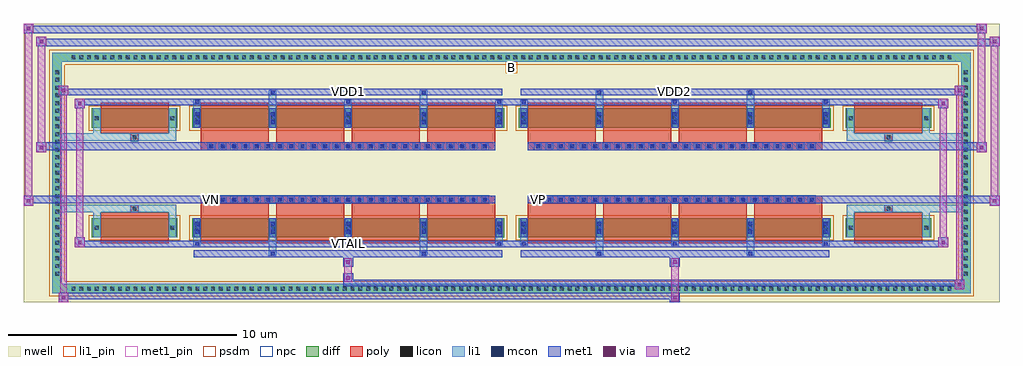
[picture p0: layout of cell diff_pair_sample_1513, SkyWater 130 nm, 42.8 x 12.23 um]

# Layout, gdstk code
import gdstk
lib = gdstk.Library(unit=1e-6, precision=5e-09)
def R(c, l, rs):  # rectangles x0, y0, x1, y1
    for r in rs: c.add(gdstk.rectangle(r[:2], r[2:], *l))
def A(c, l, x, y, w, h, nx, ny, dx, dy):  # array of equal rectangles
    R(c, l, [(x+i*dx, y+j*dy, x+i*dx+w, y+j*dy+h) for i in range(nx) for j in range(ny)])
def P(c, l, *ps):  # polygons
    for p in ps: c.add(gdstk.Polygon(p, *l))
nwell = (64, 20)
diff = (65, 20)
poly = (66, 20)
licon = (66, 44)
li1_pin = (67, 16)
li1 = (67, 20)
mcon = (67, 44)
met1_pin = (68, 16)
met1 = (68, 20)
via = (68, 44)
met2 = (69, 20)
psdm = (94, 20)
npc = (95, 20)

diff_pair_sample_1513 = lib.new_cell('diff_pair_sample_1513')
R(diff_pair_sample_1513, nwell, [(-21.4,-5.68,21.4,6.55), (-18.72,-3.87,-0.01,-0.805), (0.01,-3.87,18.72,-0.805), (-18.72,0.805,-0.01,3.87), (0.01,0.805,18.72,3.87)])
A(diff_pair_sample_1513, diff, -19.415, -5.28, 0.41, 0.41, 114, 2, 0.34, 10.15)
A(diff_pair_sample_1513, diff, -20.13, -4.625, 0.41, 0.41, 1, 27, 0, 0.34)
A(diff_pair_sample_1513, diff, 19.72, -4.625, 0.41, 0.41, 1, 27, 0, 0.34)
R(diff_pair_sample_1513, diff, [(-19.415,-5.28,19.415,-4.87), (-20.13,-4.625,-19.72,4.625), (19.72,-4.625,20.13,4.625), (-18.41,-2.825,-14.65,-1.985), (-14.01,-2.825,-0.32,-1.985), (0.32,-2.825,14.01,-1.985), (14.65,-2.825,18.41,-1.985), (-18.41,1.985,-14.65,2.825), (-14.01,1.985,-0.32,2.825), (0.32,1.985,14.01,2.825), (14.65,1.985,18.41,2.825), (-19.415,4.87,19.415,5.28)])
P(diff_pair_sample_1513, diff, [(20.13,5.28),(-20.13,5.28),(-20.13,-4.87),(-19.72,-4.87),(-19.72,4.87),(19.72,4.87),(19.72,-4.87),(-19.72,-4.87),(-20.13,-4.87),(-20.13,-5.28),(20.13,-5.28)])
A(diff_pair_sample_1513, poly, -13.62, -3.075, 2.98, 1.34, 4, 2, 3.31, 4.81)
A(diff_pair_sample_1513, poly, 0.71, -3.075, 2.98, 1.34, 4, 2, 3.31, 4.81)
A(diff_pair_sample_1513, poly, -13.62, -1.735, 2.98, 0.4, 4, 2, 3.31, 3.07)
A(diff_pair_sample_1513, poly, 0.71, -1.735, 2.98, 0.4, 4, 2, 3.31, 3.07)
A(diff_pair_sample_1513, poly, -13.33, -1.335, 0.33, 0.33, 25, 2, 0.5, 2.34)
A(diff_pair_sample_1513, poly, 1, -1.335, 0.33, 0.33, 25, 2, 0.5, 2.34)
R(diff_pair_sample_1513, poly, [(-18.02,-3.075,-15.04,-1.735), (15.04,-3.075,18.02,-1.735), (-16.695,-1.735,-16.365,-1.405), (-16.695,-1.735,-16.365,-1.405), (16.365,-1.735,16.695,-1.405), (16.365,-1.735,16.695,-1.405), (-13.62,-1.335,-0.71,-1.005), (0.71,-1.335,13.62,-1.005), (-13.62,1.005,-0.71,1.335), (0.71,1.005,13.62,1.335), (-16.695,1.405,-16.365,1.735), (-16.695,1.405,-16.365,1.735), (16.365,1.405,16.695,1.735), (16.365,1.405,16.695,1.735), (-18.02,1.735,-15.04,3.075), (15.04,1.735,18.02,3.075)])
A(diff_pair_sample_1513, licon, -19.295, -5.16, 0.17, 0.17, 114, 2, 0.34, 10.15)
A(diff_pair_sample_1513, licon, -20.01, -4.505, 0.17, 0.17, 1, 27, 0, 0.34)
A(diff_pair_sample_1513, licon, 19.84, -4.505, 0.17, 0.17, 1, 27, 0, 0.34)
A(diff_pair_sample_1513, licon, -13.87, -2.49, 0.17, 0.17, 5, 2, 3.31, 4.81)
A(diff_pair_sample_1513, licon, 0.46, -2.49, 0.17, 0.17, 5, 2, 3.31, 4.81)
A(diff_pair_sample_1513, licon, -13.25, -1.255, 0.17, 0.17, 25, 2, 0.5, 2.34)
A(diff_pair_sample_1513, licon, 1.08, -1.255, 0.17, 0.17, 25, 2, 0.5, 2.34)
R(diff_pair_sample_1513, licon, [(-18.27,-2.49,-18.1,-2.32), (-14.96,-2.49,-14.79,-2.32), (14.79,-2.49,14.96,-2.32), (18.1,-2.49,18.27,-2.32), (-16.615,-1.655,-16.445,-1.485), (16.445,-1.655,16.615,-1.485), (-16.615,1.485,-16.445,1.655), (16.445,1.485,16.615,1.655), (-18.27,2.32,-18.1,2.49), (-14.96,2.32,-14.79,2.49), (14.79,2.32,14.96,2.49), (18.1,2.32,18.27,2.49)])
R(diff_pair_sample_1513, li1_pin, [(-0.25,4.37,0.25,4.87)])
A(diff_pair_sample_1513, li1, -19.375, -5.24, 0.33, 0.33, 114, 2, 0.34, 10.15)
A(diff_pair_sample_1513, li1, -20.09, -4.585, 0.33, 0.33, 1, 27, 0, 0.34)
A(diff_pair_sample_1513, li1, 19.76, -4.585, 0.33, 0.33, 1, 27, 0, 0.34)
A(diff_pair_sample_1513, li1, -13.95, -3.2, 0.33, 0.375, 3, 2, 6.62, 6.025)
A(diff_pair_sample_1513, li1, -13.87, -3.2, 0.17, 0.17, 3, 2, 6.62, 6.23)
A(diff_pair_sample_1513, li1, 0.38, -3.2, 0.33, 0.375, 3, 2, 6.62, 6.025)
A(diff_pair_sample_1513, li1, 0.46, -3.2, 0.17, 0.17, 3, 2, 6.62, 6.23)
A(diff_pair_sample_1513, li1, -13.95, -2.825, 0.33, 0.84, 5, 2, 3.31, 4.81)
A(diff_pair_sample_1513, li1, 0.38, -2.825, 0.33, 0.84, 5, 2, 3.31, 4.81)
A(diff_pair_sample_1513, li1, -13.87, -2.67, 0.17, 0.17, 5, 2, 3.31, 0.36)
A(diff_pair_sample_1513, li1, -13.87, -2.67, 0.17, 0.53, 5, 2, 3.31, 4.81)
A(diff_pair_sample_1513, li1, 0.46, -2.67, 0.17, 0.17, 5, 2, 3.31, 0.36)
A(diff_pair_sample_1513, li1, 0.46, -2.67, 0.17, 0.53, 5, 2, 3.31, 4.81)
A(diff_pair_sample_1513, li1, -13.95, -2.57, 0.33, 0.33, 5, 2, 3.31, 4.81)
A(diff_pair_sample_1513, li1, 0.38, -2.57, 0.33, 0.33, 5, 2, 3.31, 4.81)
A(diff_pair_sample_1513, li1, -13.33, -1.335, 0.33, 0.33, 25, 2, 0.5, 2.34)
A(diff_pair_sample_1513, li1, 1, -1.335, 0.33, 0.33, 25, 2, 0.5, 2.34)
A(diff_pair_sample_1513, li1, -13.87, 2.14, 0.17, 0.17, 5, 2, 3.31, 0.36)
A(diff_pair_sample_1513, li1, 0.46, 2.14, 0.17, 0.17, 5, 2, 3.31, 0.36)
R(diff_pair_sample_1513, li1, [(-20.13,-5.28,-19.72,-4.87), (-20.13,-5.28,-19.72,-4.87), (-19.72,-5.28,19.72,-4.87), (19.72,-5.28,20.13,-4.87), (19.72,-5.28,20.13,-4.87), (-20.13,-4.87,-19.72,4.87), (19.72,-4.87,20.13,4.87), (-10.64,-3.63,-10.31,-2.825), (-10.56,-3.63,-10.39,-3.46), (-4.02,-3.63,-3.69,-2.825), (-3.94,-3.63,-3.77,-3.46), (3.69,-3.63,4.02,-2.825), (3.77,-3.63,3.94,-3.46), (10.31,-3.63,10.64,-2.825), (10.39,-3.63,10.56,-3.46), (-18.35,-2.825,-18.02,-1.985), (-15.04,-2.825,-14.71,-1.985), (14.71,-2.825,15.04,-1.985), (18.02,-2.825,18.35,-1.985), (-18.35,-2.57,-18.02,-2.24), (-15.04,-2.57,-14.71,-2.24), (14.71,-2.57,15.04,-2.24), (18.02,-2.57,18.35,-2.24), (-18.35,-1.985,-18.02,-1.405), (-15.04,-1.985,-14.71,-1.405), (14.71,-1.985,15.04,-1.405), (18.02,-1.985,18.35,-1.405), (-20.13,-1.735,-16.695,-1.405), (-18.35,-1.735,-16.695,-1.405), (-16.695,-1.735,-16.365,-1.405), (-16.365,-1.735,-14.71,-1.405), (14.71,-1.735,16.365,-1.405), (16.365,-1.735,16.695,-1.405), (16.365,-1.735,20.13,-1.405), (16.695,-1.735,18.35,-1.405), (-20.13,1.405,-16.695,1.735), (-18.35,1.405,-16.695,1.735), (-18.35,1.405,-18.02,1.985), (-16.695,1.405,-16.365,1.735), (-16.365,1.405,-14.71,1.735), (-15.04,1.405,-14.71,1.985), (14.71,1.405,16.365,1.735), (14.71,1.405,15.04,1.985), (16.365,1.405,16.695,1.735), (16.365,1.405,20.13,1.735), (16.695,1.405,18.35,1.735), (18.02,1.405,18.35,1.985), (-18.35,1.985,-18.02,2.825), (-15.04,1.985,-14.71,2.825), (14.71,1.985,15.04,2.825), (18.02,1.985,18.35,2.825), (-18.35,2.24,-18.02,2.57), (-15.04,2.24,-14.71,2.57), (14.71,2.24,15.04,2.57), (18.02,2.24,18.35,2.57), (-10.64,2.825,-10.31,3.63), (-4.02,2.825,-3.69,3.63), (3.69,2.825,4.02,3.63), (10.31,2.825,10.64,3.63), (-10.56,3.46,-10.39,3.63), (-3.94,3.46,-3.77,3.63), (3.77,3.46,3.94,3.63), (10.39,3.46,10.56,3.63), (-20.13,4.87,-19.72,5.28), (-20.13,4.87,-19.72,5.28), (-19.72,4.87,19.72,5.28), (19.72,4.87,20.13,5.28), (19.72,4.87,20.13,5.28)])
A(diff_pair_sample_1513, mcon, -13.87, -3.2, 0.17, 0.17, 3, 2, 6.62, 6.23)
A(diff_pair_sample_1513, mcon, 0.46, -3.2, 0.17, 0.17, 3, 2, 6.62, 6.23)
A(diff_pair_sample_1513, mcon, -13.87, -2.67, 0.17, 0.17, 5, 2, 3.31, 0.36)
A(diff_pair_sample_1513, mcon, 0.46, -2.67, 0.17, 0.17, 5, 2, 3.31, 0.36)
A(diff_pair_sample_1513, mcon, -13.25, -1.255, 0.17, 0.17, 25, 2, 0.5, 2.34)
A(diff_pair_sample_1513, mcon, 1.08, -1.255, 0.17, 0.17, 25, 2, 0.5, 2.34)
A(diff_pair_sample_1513, mcon, -13.87, 2.14, 0.17, 0.17, 5, 2, 3.31, 0.36)
A(diff_pair_sample_1513, mcon, 0.46, 2.14, 0.17, 0.17, 5, 2, 3.31, 0.36)
R(diff_pair_sample_1513, mcon, [(-10.56,-3.63,-10.39,-3.46), (-3.94,-3.63,-3.77,-3.46), (3.77,-3.63,3.94,-3.46), (10.39,-3.63,10.56,-3.46), (-10.56,3.46,-10.39,3.63), (-3.94,3.46,-3.77,3.63), (3.77,3.46,3.94,3.63), (10.39,3.46,10.56,3.63)])
R(diff_pair_sample_1513, met1_pin, [(-7.3,-3.24,-7.03,-2.97), (-13.3,-1.295,-13.03,-1.025), (1.03,-1.295,1.3,-1.025), (-7.3,3.42,-7.03,3.69), (7.03,3.42,7.3,3.69)])
A(diff_pair_sample_1513, met1, -13.93, -3.26, 0.29, 0.29, 3, 2, 6.62, 6.23)
A(diff_pair_sample_1513, met1, 0.4, -3.26, 0.29, 0.29, 3, 2, 6.62, 6.23)
A(diff_pair_sample_1513, met1, -13.93, -2.825, 0.29, 0.84, 5, 2, 3.31, 4.81)
A(diff_pair_sample_1513, met1, 0.4, -2.825, 0.29, 0.84, 5, 2, 3.31, 4.81)
A(diff_pair_sample_1513, met1, -13.93, -2.73, 0.29, 0.29, 5, 2, 3.31, 0.36)
A(diff_pair_sample_1513, met1, 0.4, -2.73, 0.29, 0.29, 5, 2, 3.31, 0.36)
A(diff_pair_sample_1513, met1, -13.31, -1.315, 0.29, 0.29, 25, 2, 0.5, 2.34)
A(diff_pair_sample_1513, met1, 1.02, -1.315, 0.29, 0.29, 25, 2, 0.5, 2.34)
A(diff_pair_sample_1513, met1, -13.93, 2.08, 0.29, 0.29, 5, 2, 3.31, 0.36)
A(diff_pair_sample_1513, met1, 0.4, 2.08, 0.29, 0.29, 5, 2, 3.31, 0.36)
R(diff_pair_sample_1513, met1, [(-19.86,-5.68,-19.43,-5.25), (6.95,-5.68,7.38,-5.25), (-19.86,-5.54,7.38,-5.25), (19.43,-5.11,19.86,-4.68), (-7.38,-4.97,19.86,-4.68), (-7.38,-4.83,-6.95,-4.4), (-7.38,-4.12,-6.95,-3.69), (6.95,-4.12,7.38,-3.69), (-13.93,-3.69,-0.4,-3.4), (-10.62,-3.69,-10.33,-3.4), (-4,-3.69,-3.71,-3.4), (0.4,-3.69,13.93,-3.4), (3.71,-3.69,4,-3.4), (10.33,-3.69,10.62,-3.4), (-19.15,-3.26,-18.72,-2.83), (-19.15,-3.26,-13.93,-2.97), (-13.93,-3.26,-0.4,-2.97), (-0.4,-3.26,0.4,-2.97), (0.4,-3.26,13.93,-2.97), (13.93,-3.26,19.15,-2.97), (18.72,-3.26,19.15,-2.83), (-21.4,-1.435,-20.97,-1.005), (20.97,-1.435,21.4,-1.005), (-21.4,-1.335,-0.71,-1.005), (-13.62,-1.335,-0.71,-1.005), (0.71,-1.335,13.62,-1.005), (0.71,-1.335,21.4,-1.005), (-20.83,0.905,-20.4,1.335), (20.4,0.905,20.83,1.335), (-20.83,1.005,-13.62,1.335), (-13.62,1.005,-0.71,1.335), (0.71,1.005,13.62,1.335), (13.62,1.005,20.83,1.335), (-19.15,2.83,-18.72,3.26), (18.72,2.83,19.15,3.26), (-19.15,2.97,-13.93,3.26), (-13.93,2.97,-0.4,3.26), (-0.4,2.97,0.4,3.26), (0.4,2.97,13.93,3.26), (13.93,2.97,19.15,3.26), (-19.86,3.4,-19.43,3.83), (-19.86,3.4,-13.93,3.69), (-13.93,3.4,-0.4,3.69), (-10.62,3.4,-10.33,3.69), (-4,3.4,-3.71,3.69), (0.4,3.4,13.93,3.69), (3.71,3.4,4,3.69), (10.33,3.4,10.62,3.69), (13.93,3.4,19.86,3.69), (19.43,3.4,19.86,3.83), (-20.83,5.55,-20.4,5.98), (-20.83,5.55,-18.72,5.88), (-18.72,5.55,18.72,5.88), (18.72,5.55,21.4,5.88), (20.97,5.55,21.4,5.98), (-21.4,6.12,-20.97,6.55), (-21.4,6.12,-18.72,6.45), (-18.72,6.12,18.72,6.45), (18.72,6.12,20.83,6.45), (20.4,6.12,20.83,6.55)])
R(diff_pair_sample_1513, via, [(-19.72,-5.54,-19.57,-5.39), (7.09,-5.54,7.24,-5.39), (19.57,-4.97,19.72,-4.82), (-7.24,-4.69,-7.09,-4.54), (-7.24,-3.98,-7.09,-3.83), (7.09,-3.98,7.24,-3.83), (-19.01,-3.12,-18.86,-2.97), (18.86,-3.12,19.01,-2.97), (-21.26,-1.295,-21.11,-1.145), (21.11,-1.295,21.26,-1.145), (-20.69,1.045,-20.54,1.195), (20.54,1.045,20.69,1.195), (-19.01,2.97,-18.86,3.12), (18.86,2.97,19.01,3.12), (-19.72,3.54,-19.57,3.69), (19.57,3.54,19.72,3.69), (-20.69,5.69,-20.54,5.84), (21.11,5.69,21.26,5.84), (-21.26,6.26,-21.11,6.41), (20.54,6.26,20.69,6.41)])
R(diff_pair_sample_1513, met2, [(-19.86,-5.68,-19.43,-5.25), (-19.79,-5.68,-19.5,3.83), (-19.5,-5.68,-19.43,-5.25), (-19.81,-5.63,-19.48,-5.3), (7,-5.63,7.33,-5.3), (7,-5.3,7.33,-4.07), (19.43,-5.11,19.86,-4.68), (19.5,-5.11,19.79,3.83), (19.79,-5.11,19.86,-4.68), (19.48,-5.06,19.81,-4.73), (-7.33,-4.78,-7,-4.45), (-7.33,-4.45,-7,-4.07), (-7.33,-4.07,-7,-3.74), (7,-4.07,7.33,-3.74), (-19.15,-3.26,-18.72,-2.83), (-19.08,-3.26,-18.79,3.26), (-18.79,-3.26,-18.72,-2.83), (18.72,-3.26,19.15,-2.83), (18.79,-3.26,19.08,3.26), (19.08,-3.26,19.15,-2.83), (-19.1,-3.21,-18.77,-2.88), (18.77,-3.21,19.1,-2.88), (-21.4,-1.435,-20.97,-1.005), (-21.35,-1.435,-21.02,6.55), (-21.02,-1.435,-20.97,-1.005), (20.97,-1.435,21.4,-1.005), (21.02,-1.435,21.35,5.98), (21.35,-1.435,21.4,-1.005), (-21.35,-1.385,-21.02,-1.055), (21.02,-1.385,21.35,-1.055), (-20.83,0.905,-20.4,1.335), (-20.78,0.905,-20.45,5.98), (-20.45,0.905,-20.4,1.335), (20.4,0.905,20.83,1.335), (20.45,0.905,20.78,6.55), (20.78,0.905,20.83,1.335), (-20.78,0.955,-20.45,1.285), (20.45,0.955,20.78,1.285), (-19.15,2.83,-18.72,3.26), (-18.79,2.83,-18.72,3.26), (18.72,2.83,19.15,3.26), (19.08,2.83,19.15,3.26), (-19.1,2.88,-18.77,3.21), (18.77,2.88,19.1,3.21), (-19.86,3.4,-19.43,3.83), (-19.5,3.4,-19.43,3.83), (19.43,3.4,19.86,3.83), (19.79,3.4,19.86,3.83), (-19.81,3.45,-19.48,3.78), (19.48,3.45,19.81,3.78), (-20.83,5.55,-20.4,5.98), (-20.45,5.55,-20.4,5.98), (20.97,5.55,21.4,5.98), (21.35,5.55,21.4,5.98), (-20.78,5.6,-20.45,5.93), (21.02,5.6,21.35,5.93), (-21.4,6.12,-20.97,6.55), (-21.02,6.12,-20.97,6.55), (20.4,6.12,20.83,6.55), (20.78,6.12,20.83,6.55), (-21.35,6.17,-21.02,6.5), (20.45,6.17,20.78,6.5)])
R(diff_pair_sample_1513, psdm, [(-18.54,-2.955,-14.52,-1.855), (-14.14,-2.955,-0.19,-1.855), (0.19,-2.955,14.14,-1.855), (14.52,-2.955,18.54,-1.855), (-18.54,1.855,-14.52,2.955), (-14.14,1.855,-0.19,2.955), (0.19,1.855,14.14,2.955), (14.52,1.855,18.54,2.955)])
P(diff_pair_sample_1513, psdm, [(20.26,5.41),(-20.26,5.41),(-20.26,-4.74),(-19.59,-4.74),(-19.59,4.74),(19.59,4.74),(19.59,-4.74),(-19.59,-4.74),(-20.26,-4.74),(-20.26,-5.41),(20.26,-5.41)])
A(diff_pair_sample_1513, npc, -13.35, -1.355, 0.37, 0.37, 25, 2, 0.5, 2.34)
A(diff_pair_sample_1513, npc, 0.98, -1.355, 0.37, 0.37, 25, 2, 0.5, 2.34)
R(diff_pair_sample_1513, npc, [(-16.715,-1.755,-16.345,-1.385), (16.345,-1.755,16.715,-1.385), (-13.35,-1.355,-12.48,-0.985), (-13.35,-1.355,-12.48,-0.985), (-12.85,-1.355,-11.98,-0.985), (-12.85,-1.355,-11.98,-0.985), (-12.35,-1.355,-11.48,-0.985), (-12.35,-1.355,-11.48,-0.985), (-11.85,-1.355,-10.98,-0.985), (-11.85,-1.355,-10.98,-0.985), (-11.35,-1.355,-10.48,-0.985), (-11.35,-1.355,-10.48,-0.985), (-10.85,-1.355,-9.98,-0.985), (-10.85,-1.355,-9.98,-0.985), (-10.35,-1.355,-9.48,-0.985), (-10.35,-1.355,-9.48,-0.985), (-9.85,-1.355,-8.98,-0.985), (-9.85,-1.355,-8.98,-0.985), (-9.35,-1.355,-8.48,-0.985), (-9.35,-1.355,-8.48,-0.985), (-8.85,-1.355,-7.98,-0.985), (-8.85,-1.355,-7.98,-0.985), (-8.35,-1.355,-7.48,-0.985), (-8.35,-1.355,-7.48,-0.985), (-7.85,-1.355,-6.98,-0.985), (-7.85,-1.355,-6.98,-0.985), (-7.35,-1.355,-6.48,-0.985), (-7.35,-1.355,-6.48,-0.985), (-6.85,-1.355,-5.98,-0.985), (-6.85,-1.355,-5.98,-0.985), (-6.35,-1.355,-5.48,-0.985), (-6.35,-1.355,-5.48,-0.985), (-5.85,-1.355,-4.98,-0.985), (-5.85,-1.355,-4.98,-0.985), (-5.35,-1.355,-4.48,-0.985), (-5.35,-1.355,-4.48,-0.985), (-4.85,-1.355,-3.98,-0.985), (-4.85,-1.355,-3.98,-0.985), (-4.35,-1.355,-3.48,-0.985), (-4.35,-1.355,-3.48,-0.985), (-3.85,-1.355,-2.98,-0.985), (-3.85,-1.355,-2.98,-0.985), (-3.35,-1.355,-2.48,-0.985), (-3.35,-1.355,-2.48,-0.985), (-2.85,-1.355,-1.98,-0.985), (-2.85,-1.355,-1.98,-0.985), (-2.35,-1.355,-1.48,-0.985), (-2.35,-1.355,-1.48,-0.985), (-1.85,-1.355,-0.98,-0.985), (-1.85,-1.355,-0.98,-0.985), (0.98,-1.355,1.85,-0.985), (0.98,-1.355,1.85,-0.985), (1.48,-1.355,2.35,-0.985), (1.48,-1.355,2.35,-0.985), (1.98,-1.355,2.85,-0.985), (1.98,-1.355,2.85,-0.985), (2.48,-1.355,3.35,-0.985), (2.48,-1.355,3.35,-0.985), (2.98,-1.355,3.85,-0.985), (2.98,-1.355,3.85,-0.985), (3.48,-1.355,4.35,-0.985), (3.48,-1.355,4.35,-0.985), (3.98,-1.355,4.85,-0.985), (3.98,-1.355,4.85,-0.985), (4.48,-1.355,5.35,-0.985), (4.48,-1.355,5.35,-0.985), (4.98,-1.355,5.85,-0.985), (4.98,-1.355,5.85,-0.985), (5.48,-1.355,6.35,-0.985), (5.48,-1.355,6.35,-0.985), (5.98,-1.355,6.85,-0.985), (5.98,-1.355,6.85,-0.985), (6.48,-1.355,7.35,-0.985), (6.48,-1.355,7.35,-0.985), (6.98,-1.355,7.85,-0.985), (6.98,-1.355,7.85,-0.985), (7.48,-1.355,8.35,-0.985), (7.48,-1.355,8.35,-0.985), (7.98,-1.355,8.85,-0.985), (7.98,-1.355,8.85,-0.985), (8.48,-1.355,9.35,-0.985), (8.48,-1.355,9.35,-0.985), (8.98,-1.355,9.85,-0.985), (8.98,-1.355,9.85,-0.985), (9.48,-1.355,10.35,-0.985), (9.48,-1.355,10.35,-0.985), (9.98,-1.355,10.85,-0.985), (9.98,-1.355,10.85,-0.985), (10.48,-1.355,11.35,-0.985), (10.48,-1.355,11.35,-0.985), (10.98,-1.355,11.85,-0.985), (10.98,-1.355,11.85,-0.985), (11.48,-1.355,12.35,-0.985), (11.48,-1.355,12.35,-0.985), (11.98,-1.355,12.85,-0.985), (11.98,-1.355,12.85,-0.985), (12.48,-1.355,13.35,-0.985), (12.48,-1.355,13.35,-0.985), (-13.35,0.985,-12.48,1.355), (-13.35,0.985,-12.48,1.355), (-12.85,0.985,-11.98,1.355), (-12.85,0.985,-11.98,1.355), (-12.35,0.985,-11.48,1.355), (-12.35,0.985,-11.48,1.355), (-11.85,0.985,-10.98,1.355), (-11.85,0.985,-10.98,1.355), (-11.35,0.985,-10.48,1.355), (-11.35,0.985,-10.48,1.355), (-10.85,0.985,-9.98,1.355), (-10.85,0.985,-9.98,1.355), (-10.35,0.985,-9.48,1.355), (-10.35,0.985,-9.48,1.355), (-9.85,0.985,-8.98,1.355), (-9.85,0.985,-8.98,1.355), (-9.35,0.985,-8.48,1.355), (-9.35,0.985,-8.48,1.355), (-8.85,0.985,-7.98,1.355), (-8.85,0.985,-7.98,1.355), (-8.35,0.985,-7.48,1.355), (-8.35,0.985,-7.48,1.355), (-7.85,0.985,-6.98,1.355), (-7.85,0.985,-6.98,1.355), (-7.35,0.985,-6.48,1.355), (-7.35,0.985,-6.48,1.355), (-6.85,0.985,-5.98,1.355), (-6.85,0.985,-5.98,1.355), (-6.35,0.985,-5.48,1.355), (-6.35,0.985,-5.48,1.355), (-5.85,0.985,-4.98,1.355), (-5.85,0.985,-4.98,1.355), (-5.35,0.985,-4.48,1.355), (-5.35,0.985,-4.48,1.355), (-4.85,0.985,-3.98,1.355), (-4.85,0.985,-3.98,1.355), (-4.35,0.985,-3.48,1.355), (-4.35,0.985,-3.48,1.355), (-3.85,0.985,-2.98,1.355), (-3.85,0.985,-2.98,1.355), (-3.35,0.985,-2.48,1.355), (-3.35,0.985,-2.48,1.355), (-2.85,0.985,-1.98,1.355), (-2.85,0.985,-1.98,1.355), (-2.35,0.985,-1.48,1.355), (-2.35,0.985,-1.48,1.355), (-1.85,0.985,-0.98,1.355), (-1.85,0.985,-0.98,1.355), (0.98,0.985,1.85,1.355), (0.98,0.985,1.85,1.355), (1.48,0.985,2.35,1.355), (1.48,0.985,2.35,1.355), (1.98,0.985,2.85,1.355), (1.98,0.985,2.85,1.355), (2.48,0.985,3.35,1.355), (2.48,0.985,3.35,1.355), (2.98,0.985,3.85,1.355), (2.98,0.985,3.85,1.355), (3.48,0.985,4.35,1.355), (3.48,0.985,4.35,1.355), (3.98,0.985,4.85,1.355), (3.98,0.985,4.85,1.355), (4.48,0.985,5.35,1.355), (4.48,0.985,5.35,1.355), (4.98,0.985,5.85,1.355), (4.98,0.985,5.85,1.355), (5.48,0.985,6.35,1.355), (5.48,0.985,6.35,1.355), (5.98,0.985,6.85,1.355), (5.98,0.985,6.85,1.355), (6.48,0.985,7.35,1.355), (6.48,0.985,7.35,1.355), (6.98,0.985,7.85,1.355), (6.98,0.985,7.85,1.355), (7.48,0.985,8.35,1.355), (7.48,0.985,8.35,1.355), (7.98,0.985,8.85,1.355), (7.98,0.985,8.85,1.355), (8.48,0.985,9.35,1.355), (8.48,0.985,9.35,1.355), (8.98,0.985,9.85,1.355), (8.98,0.985,9.85,1.355), (9.48,0.985,10.35,1.355), (9.48,0.985,10.35,1.355), (9.98,0.985,10.85,1.355), (9.98,0.985,10.85,1.355), (10.48,0.985,11.35,1.355), (10.48,0.985,11.35,1.355), (10.98,0.985,11.85,1.355), (10.98,0.985,11.85,1.355), (11.48,0.985,12.35,1.355), (11.48,0.985,12.35,1.355), (11.98,0.985,12.85,1.355), (11.98,0.985,12.85,1.355), (12.48,0.985,13.35,1.355), (12.48,0.985,13.35,1.355), (-16.715,1.385,-16.345,1.755), (16.345,1.385,16.715,1.755)])
diff_pair_sample_1513.add(gdstk.Label('VTAIL', (-7.165,-3.105), layer=68, texttype=5))
diff_pair_sample_1513.add(gdstk.Label('VN', (-13.165,-1.16), layer=68, texttype=5))
diff_pair_sample_1513.add(gdstk.Label('VP', (1.165,-1.16), layer=68, texttype=5))
diff_pair_sample_1513.add(gdstk.Label('B', (0,4.62), layer=67, texttype=5))
diff_pair_sample_1513.add(gdstk.Label('VDD2', (7.165,3.555), layer=68, texttype=5))
diff_pair_sample_1513.add(gdstk.Label('VDD1', (-7.165,3.555), layer=68, texttype=5))

lib.write_gds('diff_pair_sample_1513.gds')
